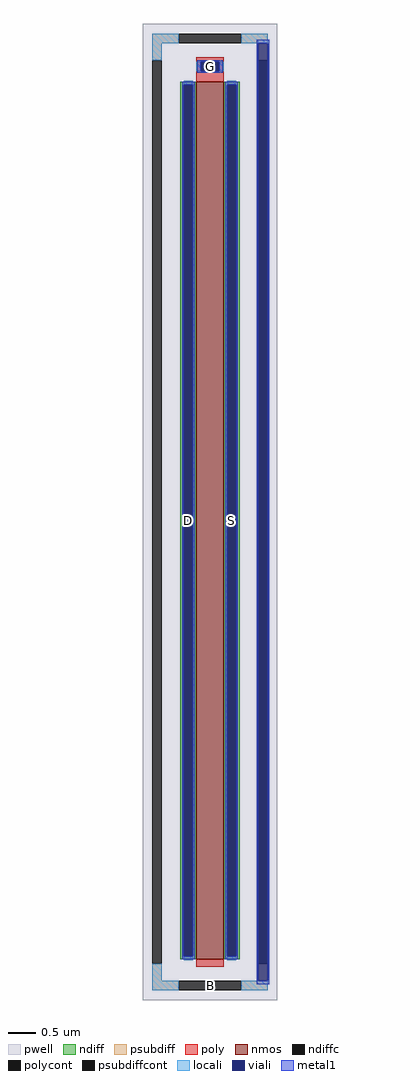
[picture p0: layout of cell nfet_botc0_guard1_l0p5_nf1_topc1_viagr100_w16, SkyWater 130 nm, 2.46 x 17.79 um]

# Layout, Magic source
magic
tech sky130A
magscale 1 2
<< pwell >>
rect -246 -1779 246 1779
<< nmos >>
rect -50 -1631 50 1569
<< ndiff >>
rect -108 1557 -50 1569
rect -108 -1619 -96 1557
rect -62 -1619 -50 1557
rect -108 -1631 -50 -1619
rect 50 1557 108 1569
rect 50 -1619 62 1557
rect 96 -1619 108 1557
rect 50 -1631 108 -1619
<< ndiffc >>
rect -96 -1619 -62 1557
rect 62 -1619 96 1557
<< psubdiff >>
rect -210 1709 -114 1743
rect 114 1709 210 1743
rect -210 1647 -176 1709
rect 176 1647 210 1709
rect -210 -1709 -176 -1647
rect 176 -1709 210 -1647
rect -210 -1743 -114 -1709
rect 114 -1743 210 -1709
<< psubdiffcont >>
rect -114 1709 114 1743
rect -210 -1647 -176 1647
rect 176 -1647 210 1647
rect -114 -1743 114 -1709
<< poly >>
rect -50 1641 50 1657
rect -50 1607 -34 1641
rect 34 1607 50 1641
rect -50 1569 50 1607
rect -50 -1657 50 -1631
<< polycont >>
rect -34 1607 34 1641
<< locali >>
rect -210 1709 -114 1743
rect 114 1709 210 1743
rect -210 1647 -176 1709
rect -50 1607 -34 1641
rect 34 1607 50 1641
rect -96 1557 -62 1573
rect -96 -1635 -62 -1619
rect 62 1557 96 1573
rect 62 -1635 96 -1619
rect -210 -1709 -176 -1647
rect -210 -1743 -114 -1709
rect 114 -1743 210 -1709
<< viali >>
rect 176 1647 210 1709
rect -34 1607 34 1641
rect -96 -1619 -62 1557
rect 62 -1619 96 1557
rect 176 -1647 210 1647
rect 176 -1709 210 -1647
<< metal1 >>
rect 170 1709 216 1721
rect -46 1641 46 1647
rect -46 1607 -34 1641
rect 34 1607 46 1641
rect -46 1601 46 1607
rect -102 1557 -56 1569
rect -102 -1619 -96 1557
rect -62 -1619 -56 1557
rect -102 -1631 -56 -1619
rect 56 1557 102 1569
rect 56 -1619 62 1557
rect 96 -1619 102 1557
rect 56 -1631 102 -1619
rect 170 -1709 176 1709
rect 210 -1709 216 1709
rect 170 -1721 216 -1709
<< labels >>
rlabel psubdiffcont 0 -1726 0 -1726 0 B
port 1 nsew
rlabel ndiffc -79 -31 -79 -31 0 D
port 2 nsew
rlabel ndiffc 79 -31 79 -31 0 S
port 3 nsew
rlabel polycont 0 1624 0 1624 0 G
port 4 nsew
<< properties >>
string FIXED_BBOX -193 -1726 193 1726
string gencell sky130_fd_pr__nfet_01v8
string library sky130
string parameters w 16 l 0.5 m 1 nf 1 diffcov 100 polycov 100 guard 1 glc 1 grc 1 gtc 1 gbc 1 tbcov 100 rlcov 100 topc 1 botc 0 poverlap 0 doverlap 1 lmin 0.15 wmin 0.42 class mosfet compatible {sky130_fd_pr__nfet_01v8 sky130_fd_pr__nfet_01v8_lvt  sky130_fd_bs_flash__special_sonosfet_star  sky130_fd_pr__nfet_g5v0d10v5 sky130_fd_pr__nfet_05v0_nvt  sky130_fd_pr__nfet_03v3_nvt} full_metal 1 conn_gates 0 viasrc 100 viadrn 100 viagate 100 viagb 0 viagr 100 viagl 0 viagt 0 doports 1
<< end >>
